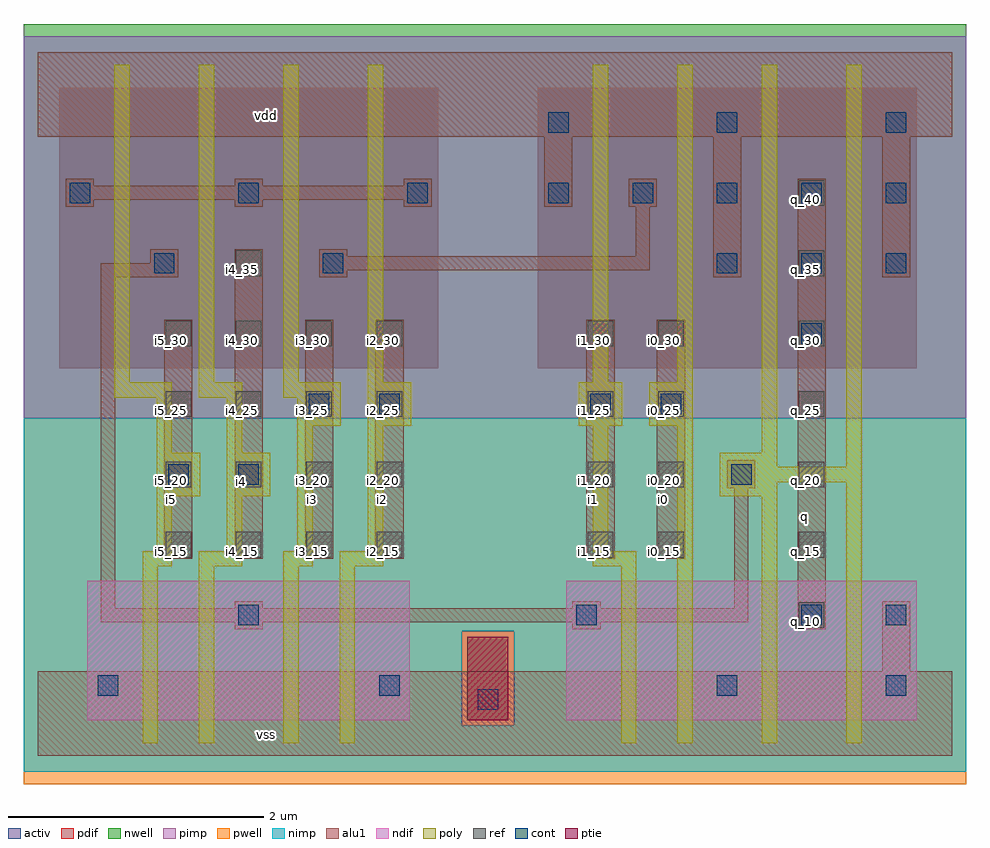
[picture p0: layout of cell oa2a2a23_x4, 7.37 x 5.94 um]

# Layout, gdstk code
import gdstk
lib = gdstk.Library(unit=1e-6, precision=2.5e-09)
def R(c, l, rs):  # rectangles x0, y0, x1, y1
    for r in rs: c.add(gdstk.rectangle(r[:2], r[2:], *l))
def A(c, l, x, y, w, h, nx, ny, dx, dy):  # array of equal rectangles
    R(c, l, [(x+i*dx, y+j*dy, x+i*dx+w, y+j*dy+h) for i in range(nx) for j in range(ny)])
ndif = (3, 0)
pdif = (4, 0)
ptie = (6, 0)
ref = (24, 0)
cont = (25, 0)
pwell = (41, 0)
nwell = (42, 0)
activ = (43, 0)
pimp = (44, 0)
nimp = (45, 0)
poly = (46, 0)
alu1 = (49, 0)

oa2a2a23_x4 = lib.new_cell('oa2a2a23_x4')
R(oa2a2a23_x4, ndif, [(0.39,0.28,2.91,1.37), (0.39,0.28,2.91,1.37), (4.13,0.28,6.87,1.37), (4.13,0.28,6.87,1.37)])
R(oa2a2a23_x4, pdif, [(0.17,3.03,3.13,5.22), (0.17,3.03,3.13,5.22), (3.91,3.03,6.87,5.22), (3.91,3.03,6.87,5.22)])
R(oa2a2a23_x4, ptie, [(3.36,0.28,3.68,0.93), (3.36,0.28,3.68,0.93)])
A(oa2a2a23_x4, ref, 5.95, 1, 0.2, 0.2, 1, 7, 0, 0.55)
A(oa2a2a23_x4, ref, 1, 1.55, 0.2, 0.2, 4, 4, 0.55, 0.55)
A(oa2a2a23_x4, ref, 4.3, 1.55, 0.2, 0.2, 1, 4, 0, 0.55)
A(oa2a2a23_x4, ref, 4.85, 1.55, 0.2, 0.2, 1, 4, 0, 0.55)
R(oa2a2a23_x4, ref, [(1.55,3.75,1.75,3.95)])
A(oa2a2a23_x4, cont, 5.31, 3.77, 0.16, 0.16, 3, 1, 0.66, 0)
A(oa2a2a23_x4, cont, 0.25, 4.32, 0.16, 0.16, 3, 1, 1.32, 0)
A(oa2a2a23_x4, cont, 3.99, 4.32, 0.16, 0.16, 5, 1, 0.66, 0)
A(oa2a2a23_x4, cont, 3.99, 4.87, 0.16, 0.16, 3, 1, 1.32, 0)
R(oa2a2a23_x4, cont, [(3.44,0.36,3.6,0.52), (0.47,0.47,0.63,0.63), (2.67,0.47,2.83,0.63), (5.31,0.47,5.47,0.63), (6.63,0.47,6.79,0.63), (1.57,1.02,1.73,1.18), (4.21,1.02,4.37,1.18), (5.97,1.02,6.13,1.18), (6.63,1.02,6.79,1.18), (1.02,2.12,1.18,2.28), (1.57,2.12,1.73,2.28), (5.42,2.12,5.58,2.28), (2.12,2.67,2.28,2.83), (2.67,2.67,2.83,2.83), (4.32,2.67,4.48,2.83), (4.87,2.67,5.03,2.83), (5.97,3.22,6.13,3.38), (0.91,3.77,1.07,3.93), (2.23,3.77,2.39,3.93)])
R(oa2a2a23_x4, pwell, [(-0.11,-0.22,7.26,2.64)])
R(oa2a2a23_x4, nwell, [(-0.11,2.64,7.26,5.72)])
R(oa2a2a23_x4, activ, [(0.39,0.28,2.91,1.37), (0.39,0.28,2.91,1.37), (3.36,0.28,3.68,0.93), (3.36,0.28,3.68,0.93), (4.13,0.28,6.87,1.37), (4.13,0.28,6.87,1.37), (0.17,3.03,3.13,5.22), (0.17,3.03,3.13,5.22), (3.91,3.03,6.87,5.22), (3.91,3.03,6.87,5.22)])
R(oa2a2a23_x4, pimp, [(3.315,0.235,3.725,0.975), (-0.11,2.64,7.26,5.625)])
R(oa2a2a23_x4, nimp, [(-0.11,-0.125,7.26,0.235), (-0.11,0.235,3.315,0.975), (3.725,0.235,7.26,0.975), (-0.11,0.975,7.26,2.64)])
A(oa2a2a23_x4, poly, 0.6, 2.92, 0.12, 2.48, 4, 1, 0.66, 0)
R(oa2a2a23_x4, poly, [(0.82,0.1,0.94,1.48), (1.26,0.1,1.38,1.48), (1.92,0.1,2.04,1.48), (2.36,0.1,2.48,1.48), (4.56,0.1,4.68,1.48), (5,0.1,5.12,2.58), (5.66,0.1,5.78,2.03), (6.32,0.1,6.44,2.14), (0.82,1.48,1.05,1.6), (1.26,1.48,1.6,1.6), (1.92,1.48,2.15,1.6), (2.36,1.48,2.7,1.6), (4.34,1.48,4.68,1.6), (0.93,1.6,1.05,2.03), (1.48,1.6,1.6,2.03), (2.03,1.6,2.15,2.58), (2.58,1.6,2.7,2.58), (4.34,1.6,4.46,2.58), (0.93,2.03,1.27,2.37), (1.48,2.03,1.82,2.37), (5.33,2.03,5.78,2.14), (5.33,2.14,6.44,2.26), (5.33,2.26,5.78,2.37), (6.32,2.26,6.44,5.4), (0.93,2.37,1.05,2.8), (1.48,2.37,1.6,2.8), (5.66,2.37,5.78,5.4), (2.03,2.58,2.37,2.8), (2.58,2.58,2.92,2.92), (4.23,2.58,4.57,2.92), (4.78,2.58,5.12,2.92), (0.6,2.8,1.05,2.92), (1.26,2.8,1.6,2.92), (1.92,2.8,2.37,2.92), (4.34,2.92,4.46,5.4), (5,2.92,5.12,5.4)])
A(oa2a2a23_x4, alu1, 0.22, 4.29, 0.22, 0.055, 3, 2, 1.32, 0.165)
R(oa2a2a23_x4, alu1, [(0,0,7.15,0.66), (6.6,0.66,6.82,1.21), (1.54,0.99,1.76,1.045), (4.18,0.99,4.4,1.045), (5.94,0.99,6.16,4.51), (0.495,1.045,5.555,1.155), (0.495,1.155,0.605,3.74), (1.54,1.155,1.76,1.21), (4.18,1.155,4.4,1.21), (5.445,1.155,5.555,2.09), (0.99,1.54,1.21,3.41), (1.54,1.54,1.76,3.96), (2.09,1.54,2.31,3.41), (2.64,1.54,2.86,3.41), (4.29,1.54,4.51,3.41), (4.84,1.54,5.06,3.41), (5.39,2.09,5.61,2.31), (0.495,3.74,1.1,3.85), (2.2,3.74,2.42,3.795), (5.28,3.74,5.5,4.84), (6.6,3.74,6.82,4.84), (2.2,3.795,4.785,3.905), (0.88,3.85,1.1,3.96), (2.2,3.905,2.42,3.96), (4.675,3.905,4.785,4.29), (3.96,4.29,4.18,4.84), (4.62,4.29,4.84,4.51), (0.22,4.345,3.08,4.455), (0,4.84,7.15,5.5)])
oa2a2a23_x4.add(gdstk.Label('vss', (1.7875,0.165), layer=49, texttype=0))
oa2a2a23_x4.add(gdstk.Label('q', (5.995,1.87), layer=49, texttype=0))
oa2a2a23_x4.add(gdstk.Label('i0', (4.895,2.0075), layer=49, texttype=0))
oa2a2a23_x4.add(gdstk.Label('i1', (4.345,2.0075), layer=49, texttype=0))
oa2a2a23_x4.add(gdstk.Label('i2', (2.695,2.0075), layer=49, texttype=0))
oa2a2a23_x4.add(gdstk.Label('i3', (2.145,2.0075), layer=49, texttype=0))
oa2a2a23_x4.add(gdstk.Label('i4', (1.595,2.145), layer=49, texttype=0))
oa2a2a23_x4.add(gdstk.Label('i5', (1.045,2.0075), layer=49, texttype=0))
oa2a2a23_x4.add(gdstk.Label('vdd', (1.7875,5.005), layer=49, texttype=0))
oa2a2a23_x4.add(gdstk.Label('i0_15', (4.9,1.6), layer=24, texttype=0))
oa2a2a23_x4.add(gdstk.Label('i0_30', (4.9,3.25), layer=24, texttype=0))
oa2a2a23_x4.add(gdstk.Label('i1_30', (4.35,3.25), layer=24, texttype=0))
oa2a2a23_x4.add(gdstk.Label('i1_25', (4.35,2.7), layer=24, texttype=0))
oa2a2a23_x4.add(gdstk.Label('i1_15', (4.35,1.6), layer=24, texttype=0))
oa2a2a23_x4.add(gdstk.Label('i1_20', (4.35,2.15), layer=24, texttype=0))
oa2a2a23_x4.add(gdstk.Label('i0_25', (4.9,2.7), layer=24, texttype=0))
oa2a2a23_x4.add(gdstk.Label('i0_20', (4.9,2.15), layer=24, texttype=0))
oa2a2a23_x4.add(gdstk.Label('q_10', (6,1.05), layer=24, texttype=0))
oa2a2a23_x4.add(gdstk.Label('q_15', (6,1.6), layer=24, texttype=0))
oa2a2a23_x4.add(gdstk.Label('q_35', (6,3.8), layer=24, texttype=0))
oa2a2a23_x4.add(gdstk.Label('q_30', (6,3.25), layer=24, texttype=0))
oa2a2a23_x4.add(gdstk.Label('q_25', (6,2.7), layer=24, texttype=0))
oa2a2a23_x4.add(gdstk.Label('q_20', (6,2.15), layer=24, texttype=0))
oa2a2a23_x4.add(gdstk.Label('i4_35', (1.6,3.8), layer=24, texttype=0))
oa2a2a23_x4.add(gdstk.Label('i4_30', (1.6,3.25), layer=24, texttype=0))
oa2a2a23_x4.add(gdstk.Label('i4_25', (1.6,2.7), layer=24, texttype=0))
oa2a2a23_x4.add(gdstk.Label('i4_20', (1.6,2.15), layer=24, texttype=0))
oa2a2a23_x4.add(gdstk.Label('i4_15', (1.6,1.6), layer=24, texttype=0))
oa2a2a23_x4.add(gdstk.Label('i3_20', (2.15,2.15), layer=24, texttype=0))
oa2a2a23_x4.add(gdstk.Label('i2_30', (2.7,3.25), layer=24, texttype=0))
oa2a2a23_x4.add(gdstk.Label('i2_25', (2.7,2.7), layer=24, texttype=0))
oa2a2a23_x4.add(gdstk.Label('i2_20', (2.7,2.15), layer=24, texttype=0))
oa2a2a23_x4.add(gdstk.Label('i2_15', (2.7,1.6), layer=24, texttype=0))
oa2a2a23_x4.add(gdstk.Label('i3_30', (2.15,3.25), layer=24, texttype=0))
oa2a2a23_x4.add(gdstk.Label('i3_25', (2.15,2.7), layer=24, texttype=0))
oa2a2a23_x4.add(gdstk.Label('i3_15', (2.15,1.6), layer=24, texttype=0))
oa2a2a23_x4.add(gdstk.Label('i5_15', (1.05,1.6), layer=24, texttype=0))
oa2a2a23_x4.add(gdstk.Label('i5_30', (1.05,3.25), layer=24, texttype=0))
oa2a2a23_x4.add(gdstk.Label('i5_25', (1.05,2.7), layer=24, texttype=0))
oa2a2a23_x4.add(gdstk.Label('i5_20', (1.05,2.15), layer=24, texttype=0))
oa2a2a23_x4.add(gdstk.Label('q_40', (6,4.35), layer=24, texttype=0))

lib.write_gds('oa2a2a23_x4.gds')
